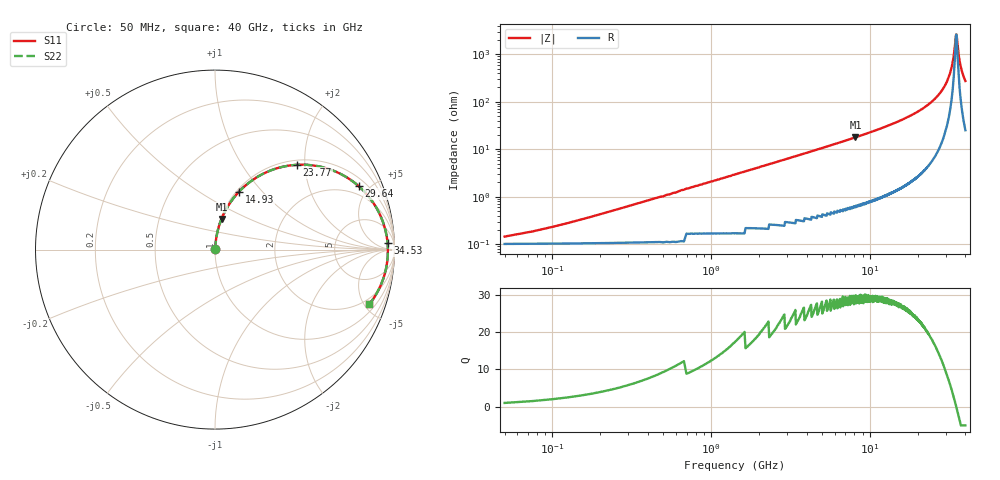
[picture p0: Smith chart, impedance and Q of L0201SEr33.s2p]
# MHZ S MA R 50
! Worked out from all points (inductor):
!   1601 points, 50 MHz to 40 GHz, reference 50 ohm
!   read as one part in series: L = 330 pH near 249.8 MHz
!   highest Q = 29.3 at 8.115 GHz (marker M1), where L = 349 pH
!   self-resonance near 35.05 GHz
!   S11 on the Smith chart (normalised r, x): 50 MHz: 1.00, +0.00; 14.93 GHz: 1.03, +0.76; 23.77 GHz: 1.10, +1.82; 29.64 GHz: 1.42, +4.28; 34.53 GHz: 26, +26; 40 GHz: 1.51, -5.44
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50  0.001459 45.2  0.999 -0.1  0.999 -0.1  0.001459 45.2
349.625  0.00734 80.2  0.999 -0.4  0.999 -0.4  0.00734 80.2
599.313  0.012 83.1  0.999 -0.7  0.999 -0.7  0.012 83.1
948.875  0.02 84.4  0.998 -1.1  0.998 -1.1  0.02 84.4
1573.094  0.033 84.8  0.998 -1.9  0.998 -1.9  0.033 84.8
3545.625  0.074 83.4  0.994 -4.2  0.994 -4.2  0.074 83.4
6716.656  0.142 79.8  0.985 -8.2  0.985 -8.2  0.142 79.8
8114.906  0.174 78.0  0.979 -10.0  0.979 -10.0  0.174 78.0
13383.31  0.306 70.2  0.941 -17.8  0.941 -17.8  0.306 70.2
14931.38  0.35 67.5  0.924 -20.5  0.924 -20.5  0.35 67.5
20025  0.515 56.6  0.835 -31.0  0.835 -31.0  0.515 56.6
23770.31  0.657 46.0  0.72 -41.0  0.72 -41.0  0.657 46.0
26691.66  0.772 35.8  0.586 -50.4  0.586 -50.4  0.772 35.8
29637.97  0.875 23.9  0.407 -60.5  0.407 -60.5  0.875 23.9
31760.31  0.929 14.6  0.255 -66.6  0.255 -66.6  0.929 14.6
33358.31  0.953 7.4  0.135 -66.1  0.135 -66.1  0.953 7.4
34531.84  0.962 2.2  0.054 -44.2  0.054 -44.2  0.962 2.2
34881.41  0.963 0.7  0.039 -18.0  0.039 -18.0  0.963 0.7
35156.06  0.963 -0.5  0.038 12.2  0.038 12.2  0.963 -0.5
36254.69  0.961 -5.1  0.096 63.2  0.096 63.2  0.961 -5.1
37128.59  0.954 -8.7  0.155 68.5  0.155 68.5  0.954 -8.7
40000  0.912 -19.4  0.334 65.3  0.334 65.3  0.912 -19.4
